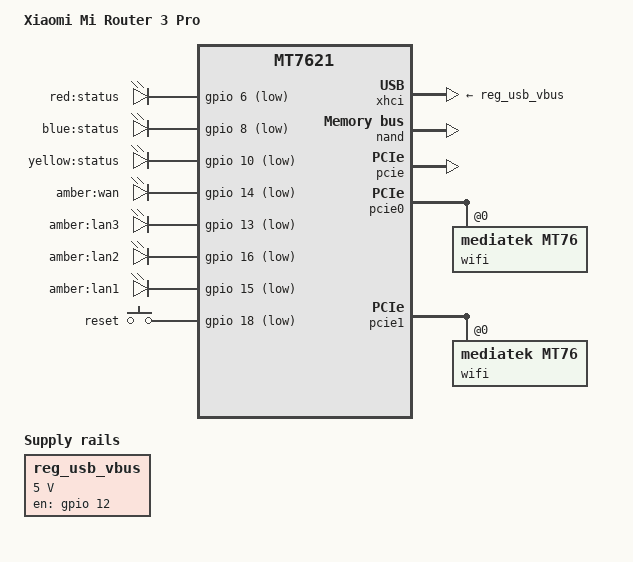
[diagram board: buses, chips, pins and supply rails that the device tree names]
// SPDX-License-Identifier: GPL-2.0-or-later OR MIT

#include "mt7621.dtsi"

#include <dt-bindings/gpio/gpio.h>
#include <dt-bindings/input/input.h>

/ {
	compatible = "xiaomi,mir3p", "mediatek,mt7621-soc";
	model = "Xiaomi Mi Router 3 Pro";

	aliases {
		led-boot = &led_status_yellow;
		led-failsafe = &led_status_red;
		led-running = &led_status_blue;
		led-upgrade = &led_status_yellow;
		label-mac-device = &gmac0;
	};

	chosen {
		bootargs = "console=ttyS0,115200n8";
	};

	leds {
		compatible = "gpio-leds";

		led_status_red: status_red {
			label = "red:status";
			gpios = <&gpio 6 GPIO_ACTIVE_LOW>;
		};

		led_status_blue: status_blue {
			label = "blue:status";
			gpios = <&gpio 8 GPIO_ACTIVE_LOW>;
		};

		led_status_yellow: status_yellow {
			label = "yellow:status";
			gpios = <&gpio 10 GPIO_ACTIVE_LOW>;
		};

		wan_amber {
			label = "amber:wan";
			gpios = <&gpio 14 GPIO_ACTIVE_LOW>;
			linux,default-trigger = "dsa-0.0:04:1Gbps";
		};

		lan3_amber {
			label = "amber:lan3";
			gpios = <&gpio 13 GPIO_ACTIVE_LOW>;
			linux,default-trigger = "dsa-0.0:03:1Gbps";
		};

		lan2_amber {
			label = "amber:lan2";
			gpios = <&gpio 16 GPIO_ACTIVE_LOW>;
			linux,default-trigger = "dsa-0.0:02:1Gbps";
		};

		lan1_amber {
			label = "amber:lan1";
			gpios = <&gpio 15 GPIO_ACTIVE_LOW>;
			linux,default-trigger = "dsa-0.0:01:1Gbps";
		};
	};

	keys {
		compatible = "gpio-keys";

		reset {
			label = "reset";
			gpios = <&gpio 18 GPIO_ACTIVE_LOW>;
			linux,code = <KEY_RESTART>;
		};
	};

	reg_usb_vbus: regulator {
		compatible = "regulator-fixed";
		regulator-name = "usb_vbus";
		regulator-min-microvolt = <5000000>;
		regulator-max-microvolt = <5000000>;
		gpio = <&gpio 12 GPIO_ACTIVE_HIGH>;
		enable-active-high;
	};
};

&xhci {
	vbus-supply = <&reg_usb_vbus>;
};

&nand {
	status = "okay";

	partitions {
		compatible = "fixed-partitions";
		#address-cells = <1>;
		#size-cells = <1>;

		partition@0 {
			label = "Bootloader";
			reg = <0x0 0x40000>;
			read-only;
		};

		partition@40000 {
			label = "Config";
			reg = <0x40000 0x40000>;
		};

		partition@80000 {
			label = "Bdata";
			reg = <0x80000 0x40000>;
			read-only;
		};

		factory: partition@c0000 {
			label = "factory";
			reg = <0x0c0000 0x40000>;
			read-only;
		};

		partition@100000 {
			label = "crash";
			reg = <0x100000 0x40000>;
		};

		partition@140000 {
			label = "crash_syslog";
			reg = <0x140000 0x80000>;
		};

		partition@1c0000 {
			label = "reserved0";
			reg = <0x1c0000 0x40000>;
			read-only;
		};

		/* We keep stock xiaomi firmware (kernel0) here */
		partition@200000 {
			label = "kernel_stock";
			reg = <0x200000 0x400000>;
		};

		partition@600000 {
			label = "kernel";
			reg = <0x600000 0x400000>;
		};

		partition@a00000 {
			label = "ubi";
			reg = <0xa00000 0xf580000>;
		};
	};
};

&pcie {
	status = "okay";
};

&pcie0 {
	wifi@0,0 {
		compatible = "mediatek,mt76";
		reg = <0x0000 0 0 0 0>;
		mediatek,mtd-eeprom = <&factory 0x0000>;
		ieee80211-freq-limit = <2400000 2500000>;
	};
};

&pcie1 {
	wifi@0,0 {
		compatible = "mediatek,mt76";
		reg = <0x0000 0 0 0 0>;
		mediatek,mtd-eeprom = <&factory 0x8000>;
		ieee80211-freq-limit = <5000000 6000000>;
	};
};

&gmac0 {
	mtd-mac-address = <&factory 0xe006>;
};

&switch0 {
	ports {
		port@1 {
			status = "okay";
			label = "lan3";
		};

		port@2 {
			status = "okay";
			label = "lan2";
		};

		port@3 {
			status = "okay";
			label = "lan1";
		};

		port@4 {
			status = "okay";
			label = "wan";
			mtd-mac-address = <&factory 0xe000>;
		};
	};
};

&state_default {
	gpio {
		groups = "jtag", "uart2", "uart3", "wdt";
		function = "gpio";
	};
};
